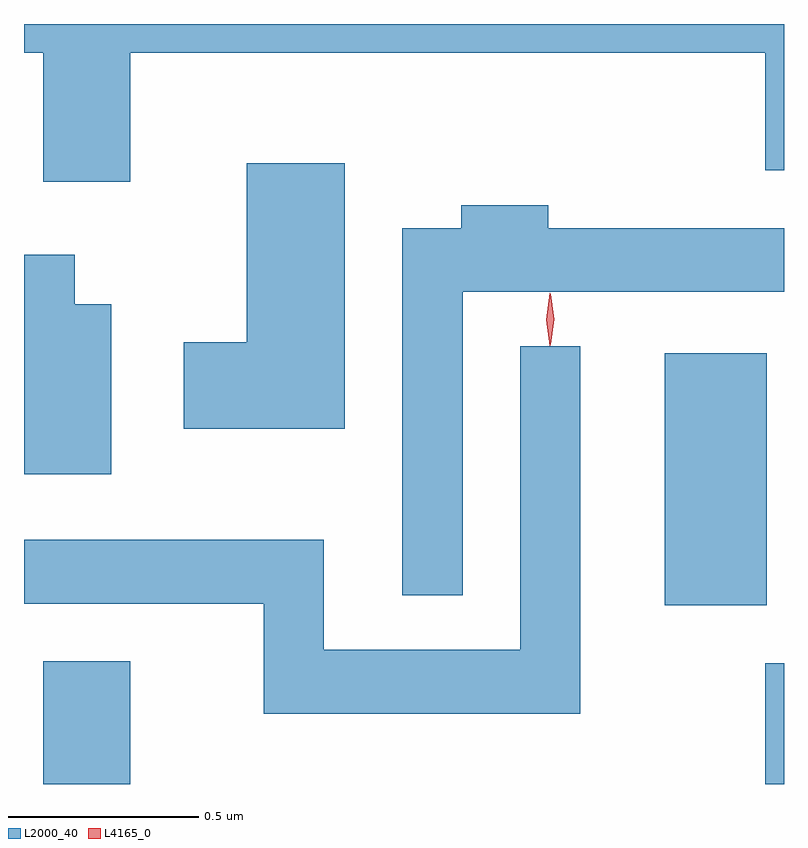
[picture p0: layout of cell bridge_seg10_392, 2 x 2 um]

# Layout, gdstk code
import gdstk
lib = gdstk.Library(unit=1e-6, precision=1e-09)
def R(c, l, rs):  # rectangles x0, y0, x1, y1
    for r in rs: c.add(gdstk.rectangle(r[:2], r[2:], *l))
def P(c, l, *ps):  # polygons
    for p in ps: c.add(gdstk.Polygon(p, *l))
L2000_40 = (2000, 40)
L4165_0 = (4165, 0)

bridge_seg10_392 = lib.new_cell('bridge_seg10_392')
R(bridge_seg10_392, L2000_40, [(1060.551,2131.971,1060.779,2132.294), (1062.451,2131.971,1062.5,2132.289), (1062.186,2132.441,1062.454,2133.104)])
P(bridge_seg10_392, L2000_40, [(1060.779,2133.896),(1062.451,2133.896),(1062.451,2133.586),(1062.5,2133.586),(1062.5,2133.971),(1060.5,2133.971),(1060.5,2133.896),(1060.551,2133.896),(1060.551,2133.556),(1060.779,2133.556)],
  [(1061.344,2133.604),(1061.086,2133.604),(1061.086,2133.134),(1060.921,2133.134),(1060.921,2132.906),(1061.344,2132.906)],
  [(1061.654,2133.266),(1062.5,2133.266),(1062.5,2133.434),(1061.879,2133.434),(1061.879,2133.494),(1061.651,2133.494),(1061.651,2133.434),(1061.496,2133.434),(1061.496,2132.468),(1061.654,2132.468)],
  [(1060.729,2133.234),(1060.634,2133.234),(1060.634,2133.364),(1060.5,2133.364),(1060.5,2132.786),(1060.729,2132.786)],
  [(1061.964,2133.123),(1061.806,2133.123),(1061.806,2132.324),(1061.289,2132.324),(1061.289,2132.614),(1060.5,2132.614),(1060.5,2132.446),(1061.131,2132.446),(1061.131,2132.156),(1061.964,2132.156)])
P(bridge_seg10_392, L4165_0, [(1061.885,2133.127),(1061.885,2133.128),(1061.875,2133.194),(1061.885,2133.26),(1061.885,2133.261),(1061.886,2133.26),(1061.895,2133.194),(1061.886,2133.128)],
  [(1061.884,2133.124),(1061.884,2133.124),(1061.874,2133.193),(1061.884,2133.262),(1061.884,2133.263),(1061.885,2133.262),(1061.894,2133.193),(1061.885,2133.124)])

lib.write_gds('bridge_seg10_392.gds')
